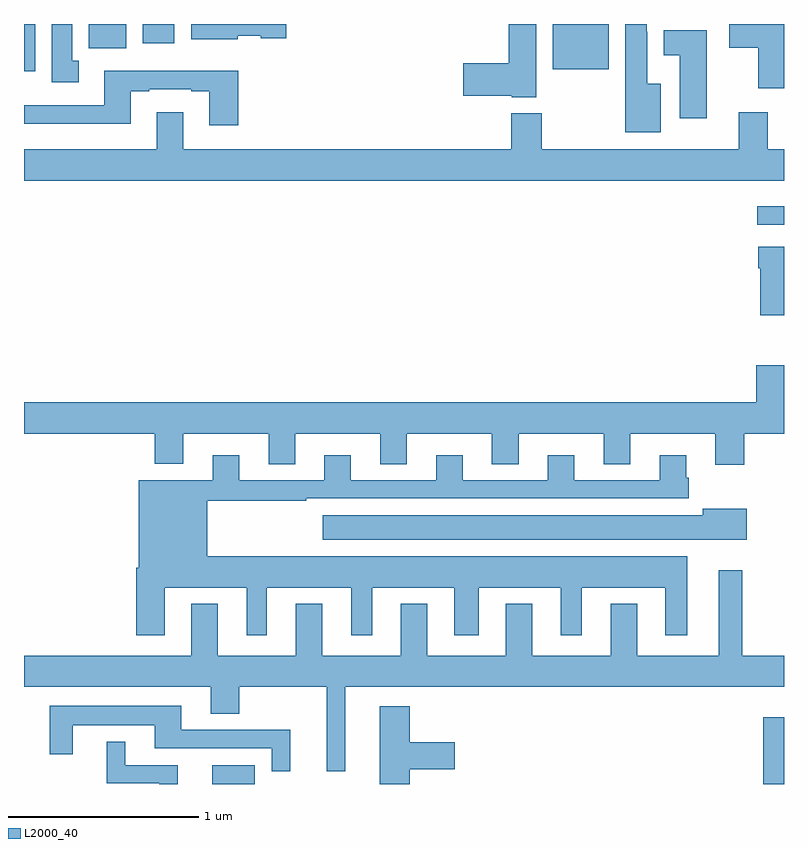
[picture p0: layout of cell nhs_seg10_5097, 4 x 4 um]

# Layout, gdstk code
import gdstk
lib = gdstk.Library(unit=1e-6, precision=1e-09)
def R(c, l, rs):  # rectangles x0, y0, x1, y1
    for r in rs: c.add(gdstk.rectangle(r[:2], r[2:], *l))
def P(c, l, *ps):  # polygons
    for p in ps: c.add(gdstk.Polygon(p, *l))
L2000_40 = (2000, 40)

nhs_seg10_5097 = lib.new_cell('nhs_seg10_5097')
R(nhs_seg10_5097, L2000_40, [(407.99,1270.5,408.214,1270.6), (410.892,1270.5,411,1270.852), (410.859,1273.443,411,1273.54), (407,1274.252,407.059,1274.5), (409.784,1274.261,410.077,1274.5), (407.342,1274.372,407.539,1274.5), (407.624,1274.4,407.791,1274.5)])
P(nhs_seg10_5097, L2000_40, [(408.126,1274.438),(408.246,1274.438),(408.246,1274.426),(408.379,1274.426),(408.379,1274.5),(407.879,1274.5),(407.879,1274.42),(408.126,1274.42)],
  [(410.35,1274.185),(410.281,1274.185),(410.281,1274.459),(410.277,1274.459),(410.277,1274.5),(410.165,1274.5),(410.165,1273.931),(410.35,1273.931)],
  [(407.287,1274.306),(407.254,1274.306),(407.254,1274.5),(407.147,1274.5),(407.147,1274.193),(407.287,1274.193)],
  [(411,1274.5),(410.712,1274.5),(410.712,1274.374),(410.864,1274.374),(410.864,1274.163),(411,1274.163)],
  [(409.696,1274.5),(409.55,1274.5),(409.55,1274.294),(409.311,1274.294),(409.311,1274.123),(409.566,1274.123),(409.566,1274.114),(409.696,1274.114)],
  [(410.593,1274.467),(410.366,1274.467),(410.366,1274.336),(410.45,1274.336),(410.45,1274.004),(410.593,1274.004)],
  [(408.128,1274.254),(407.423,1274.254),(407.423,1274.073),(407,1274.073),(407,1273.976),(407.563,1273.976),(407.563,1274.145),(407.659,1274.145),(407.659,1274.157),(407.879,1274.157),(407.879,1274.145),(407.975,1274.145),(407.975,1273.968),(408.128,1273.968)],
  [(411,1273.84),(410.915,1273.84),(410.915,1274.035),(410.762,1274.035),(410.762,1273.84),(409.725,1273.84),(409.725,1274.029),(409.565,1274.029),(409.565,1273.84),(407.839,1273.84),(407.839,1274.035),(407.699,1274.035),(407.699,1273.84),(407,1273.84),(407,1273.676),(411,1273.676)],
  [(411,1273.327),(410.864,1273.327),(410.864,1273.214),(410.876,1273.214),(410.876,1272.968),(411,1272.968)],
  [(410.792,1272.344),(411,1272.344),(411,1272.703),(410.855,1272.703),(410.855,1272.508),(407,1272.508),(407,1272.344),(407.687,1272.344),(407.687,1272.185),(407.839,1272.185),(407.839,1272.344),(408.287,1272.344),(408.287,1272.184),(408.427,1272.184),(408.427,1272.344),(408.875,1272.344),(408.875,1272.184),(409.015,1272.184),(409.015,1272.344),(409.463,1272.344),(409.463,1272.184),(409.603,1272.184),(409.603,1272.344),(410.051,1272.344),(410.051,1272.184),(410.191,1272.184),(410.191,1272.344),(410.639,1272.344),(410.639,1272.18),(410.792,1272.18)],
  [(407.74,1271.534),(408.173,1271.534),(408.173,1271.283),(408.277,1271.283),(408.277,1271.534),(408.722,1271.534),(408.722,1271.283),(408.832,1271.283),(408.832,1271.534),(409.265,1271.534),(409.265,1271.283),(409.393,1271.283),(409.393,1271.534),(409.826,1271.534),(409.826,1271.283),(409.936,1271.283),(409.936,1271.534),(410.375,1271.534),(410.375,1271.283),(410.491,1271.283),(410.491,1271.698),(407.965,1271.698),(407.965,1271.991),(408.485,1271.991),(408.485,1272.003),(410.498,1272.003),(410.498,1272.111),(410.485,1272.111),(410.485,1272.229),(410.345,1272.229),(410.345,1272.099),(409.897,1272.099),(409.897,1272.229),(409.757,1272.229),(409.757,1272.099),(409.309,1272.099),(409.309,1272.229),(409.169,1272.229),(409.169,1272.099),(408.721,1272.099),(408.721,1272.229),(408.581,1272.229),(408.581,1272.099),(408.133,1272.099),(408.133,1272.229),(407.993,1272.229),(407.993,1272.1),(407.603,1272.1),(407.603,1271.638),(407.591,1271.638),(407.591,1271.283),(407.74,1271.283)],
  [(410.803,1271.95),(410.573,1271.95),(410.573,1271.914),(408.573,1271.914),(408.573,1271.786),(410.803,1271.786)],
  [(408.692,1271.012),(411,1271.012),(411,1271.176),(410.779,1271.176),(410.779,1271.626),(410.657,1271.626),(410.657,1271.176),(410.227,1271.176),(410.227,1271.449),(410.087,1271.449),(410.087,1271.176),(409.675,1271.176),(409.675,1271.449),(409.535,1271.449),(409.535,1271.176),(409.123,1271.176),(409.123,1271.449),(408.983,1271.449),(408.983,1271.176),(408.571,1271.176),(408.571,1271.449),(408.431,1271.449),(408.431,1271.176),(408.019,1271.176),(408.019,1271.449),(407.879,1271.449),(407.879,1271.176),(407,1271.176),(407,1271.012),(407.984,1271.012),(407.984,1270.87),(408.132,1270.87),(408.132,1271.012),(408.593,1271.012),(408.593,1270.566),(408.692,1270.566)],
  [(408.401,1270.785),(407.827,1270.785),(407.827,1270.912),(407.136,1270.912),(407.136,1270.656),(407.257,1270.656),(407.257,1270.808),(407.687,1270.808),(407.687,1270.689),(408.303,1270.689),(408.303,1270.566),(408.401,1270.566)],
  [(409.031,1270.577),(409.267,1270.577),(409.267,1270.719),(409.031,1270.719),(409.031,1270.909),(408.872,1270.909),(408.872,1270.5),(409.031,1270.5)],
  [(407.81,1270.599),(407.533,1270.599),(407.533,1270.723),(407.435,1270.723),(407.435,1270.503),(407.712,1270.503),(407.712,1270.5),(407.81,1270.5)])

lib.write_gds('nhs_seg10_5097.gds')
